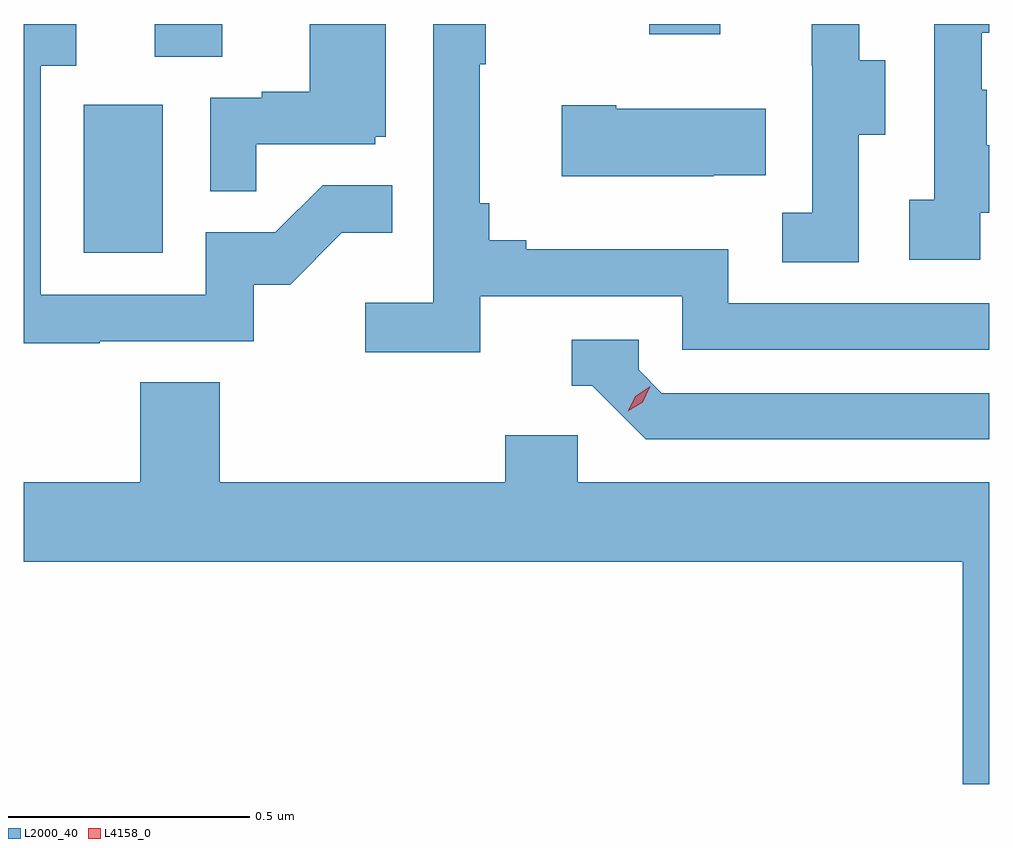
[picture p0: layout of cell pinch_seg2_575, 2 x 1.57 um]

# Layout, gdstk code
import gdstk
lib = gdstk.Library(unit=1e-6, precision=1e-09)
def R(c, l, rs):  # rectangles x0, y0, x1, y1
    for r in rs: c.add(gdstk.rectangle(r[:2], r[2:], *l))
def P(c, l, *ps):  # polygons
    for p in ps: c.add(gdstk.Polygon(p, *l))
L2000_40 = (2000, 40)
L4158_0 = (4158, 0)

pinch_seg2_575 = lib.new_cell('pinch_seg2_575')
R(pinch_seg2_575, L2000_40, [(1109.042,610.98,1109.206,611.287), (1109.189,611.386,1109.329,611.454), (1110.214,611.433,1110.361,611.454)])
P(pinch_seg2_575, L2000_40, [(1110.648,611.224),(1110.703,611.224),(1110.703,611.379),(1110.649,611.379),(1110.649,611.454),(1110.551,611.454),(1110.551,611.367),(1110.552,611.367),(1110.552,611.063),(1110.489,611.063),(1110.489,610.96),(1110.648,610.96)],
  [(1109.399,611.205),(1109.646,611.205),(1109.646,611.22),(1109.668,611.22),(1109.668,611.454),(1109.51,611.454),(1109.51,611.314),(1109.411,611.314),(1109.411,611.301),(1109.304,611.301),(1109.304,611.107),(1109.399,611.107)],
  [(1109.864,610.89),(1110.282,610.89),(1110.282,610.779),(1110.918,610.779),(1110.918,610.875),(1110.378,610.875),(1110.378,610.987),(1109.959,610.987),(1109.959,611.006),(1109.882,611.006),(1109.882,611.083),(1109.863,611.083),(1109.863,611.371),(1109.875,611.371),(1109.875,611.454),(1109.766,611.454),(1109.766,610.876),(1109.625,610.876),(1109.625,610.774),(1109.864,610.774)],
  [(1110.9,611.063),(1110.918,611.063),(1110.918,611.203),(1110.913,611.203),(1110.913,611.318),(1110.903,611.318),(1110.903,611.436),(1110.918,611.436),(1110.918,611.454),(1110.804,611.454),(1110.804,611.09),(1110.753,611.09),(1110.753,610.965),(1110.9,610.965)],
  [(1109.075,610.797),(1109.394,610.797),(1109.394,610.914),(1109.47,610.914),(1109.577,611.021),(1109.681,611.021),(1109.681,611.12),(1109.537,611.12),(1109.439,611.022),(1109.295,611.022),(1109.295,610.893),(1108.953,610.893),(1108.953,611.367),(1109.026,611.367),(1109.026,611.454),(1108.918,611.454),(1108.918,610.792),(1109.075,610.792)],
  [(1110.347,611.141),(1110.455,611.141),(1110.455,611.278),(1110.145,611.278),(1110.145,611.286),(1110.033,611.286),(1110.033,611.138),(1110.347,611.138)],
  [(1110.918,610.689),(1110.24,610.689),(1110.192,610.737),(1110.192,610.8),(1110.053,610.8),(1110.053,610.704),(1110.096,610.704),(1110.207,610.593),(1110.918,610.593)],
  [(1110.918,610.504),(1110.066,610.504),(1110.066,610.602),(1109.915,610.602),(1109.915,610.504),(1109.324,610.504),(1109.324,610.712),(1109.159,610.712),(1109.159,610.504),(1108.918,610.504),(1108.918,610.34),(1110.863,610.34),(1110.863,609.879),(1110.918,609.879)])
P(pinch_seg2_575, L4158_0, [(1110.169,610.651),(1110.169,610.651),(1110.185,610.683),(1110.216,610.703),(1110.216,610.703),(1110.216,610.703),(1110.2,610.67),(1110.169,610.651)])

lib.write_gds('pinch_seg2_575.gds')
